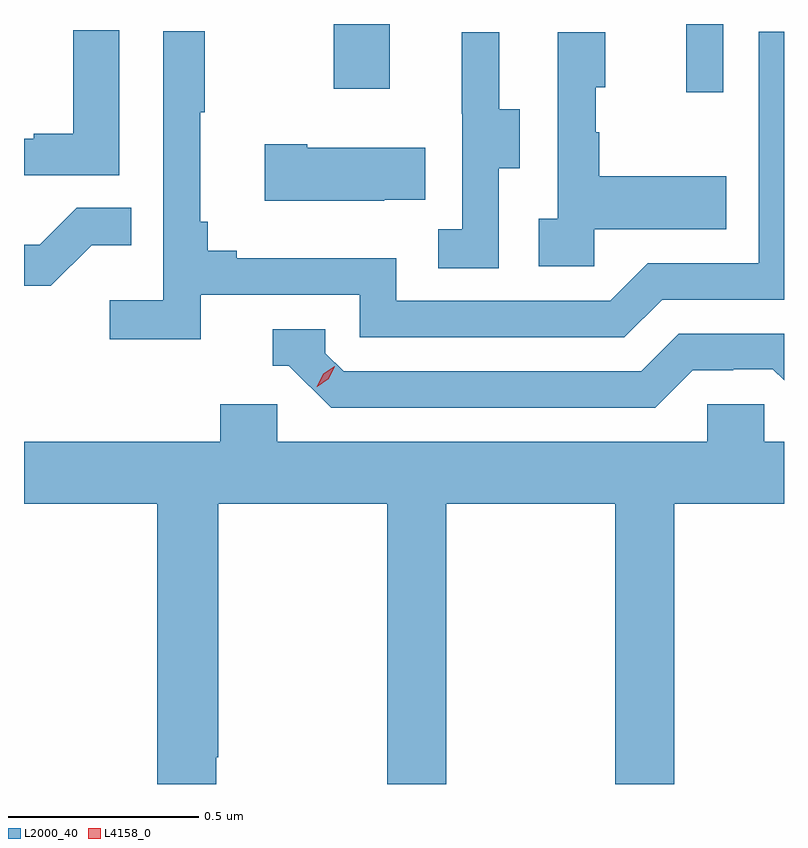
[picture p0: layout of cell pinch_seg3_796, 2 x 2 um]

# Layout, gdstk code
import gdstk
lib = gdstk.Library(unit=1e-6, precision=1e-09)
def R(c, l, rs):  # rectangles x0, y0, x1, y1
    for r in rs: c.add(gdstk.rectangle(r[:2], r[2:], *l))
def P(c, l, *ps):  # polygons
    for p in ps: c.add(gdstk.Polygon(p, *l))
L2000_40 = (2000, 40)
L4158_0 = (4158, 0)

pinch_seg3_796 = lib.new_cell('pinch_seg3_796')
R(pinch_seg3_796, L2000_40, [(815.66,709.992,815.757,710.171), (814.732,710.001,814.879,710.171)])
P(pinch_seg3_796, L2000_40, [(814.168,710.155),(814.046,710.155),(814.046,709.882),(813.943,709.882),(813.943,709.869),(813.917,709.869),(813.917,709.773),(814.168,709.773)],
  [(814.382,709.458),(814.8,709.458),(814.8,709.347),(815.497,709.347),(815.596,709.446),(815.917,709.446),(815.917,710.151),(815.85,710.151),(815.85,709.542),(815.559,709.542),(815.46,709.443),(814.896,709.443),(814.896,709.555),(814.477,709.555),(814.477,709.574),(814.4,709.574),(814.4,709.651),(814.381,709.651),(814.381,709.939),(814.393,709.939),(814.393,710.152),(814.284,710.152),(814.284,709.444),(814.143,709.444),(814.143,709.342),(814.382,709.342)],
  [(815.166,709.792),(815.221,709.792),(815.221,709.947),(815.167,709.947),(815.167,710.149),(815.069,710.149),(815.069,709.935),(815.07,709.935),(815.07,709.631),(815.007,709.631),(815.007,709.528),(815.166,709.528)],
  [(815.418,709.631),(815.765,709.631),(815.765,709.771),(815.431,709.771),(815.431,709.886),(815.421,709.886),(815.421,710.004),(815.446,710.004),(815.446,710.149),(815.322,710.149),(815.322,709.658),(815.271,709.658),(815.271,709.533),(815.418,709.533)],
  [(814.865,709.709),(814.973,709.709),(814.973,709.846),(814.663,709.846),(814.663,709.854),(814.551,709.854),(814.551,709.706),(814.865,709.706)],
  [(814.095,709.589),(814.199,709.589),(814.199,709.688),(814.056,709.688),(813.958,709.59),(813.917,709.59),(813.917,709.482),(813.988,709.482)],
  [(815.677,709.26),(815.784,709.26),(815.784,709.263),(815.887,709.263),(815.917,709.233),(815.917,709.356),(815.64,709.356),(815.541,709.257),(814.758,709.257),(814.71,709.305),(814.71,709.368),(814.571,709.368),(814.571,709.272),(814.614,709.272),(814.725,709.161),(815.578,709.161)],
  [(814.423,708.241),(814.428,708.241),(814.428,708.908),(814.873,708.908),(814.873,708.171),(815.028,708.171),(815.028,708.908),(815.473,708.908),(815.473,708.171),(815.628,708.171),(815.628,708.908),(815.917,708.908),(815.917,709.072),(815.865,709.072),(815.865,709.17),(815.715,709.17),(815.715,709.072),(814.584,709.072),(814.584,709.17),(814.433,709.17),(814.433,709.072),(813.917,709.072),(813.917,708.908),(814.268,708.908),(814.268,708.171),(814.423,708.171)])
P(pinch_seg3_796, L4158_0, [(814.688,709.217),(814.688,709.217),(814.704,709.25),(814.735,709.271),(814.735,709.271),(814.735,709.27),(814.719,709.237),(814.689,709.217)])

lib.write_gds('pinch_seg3_796.gds')
